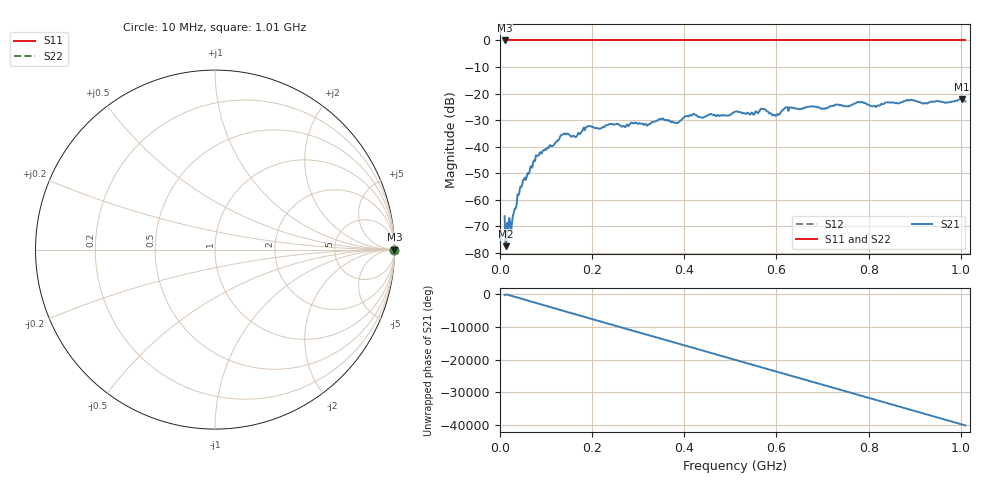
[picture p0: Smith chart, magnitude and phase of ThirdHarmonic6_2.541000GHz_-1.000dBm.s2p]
! 8/17/2025 5:08:02 AM
! C:\ANRITSUVNA\TEMP\TEMP.S2P
! CHANNEL.1
! TR.MEASUREMENT
! RAW.DATA
! RF.CORRECTION.OFF
! AVERAGING.OFF
! IF.BANDWIDTH: 5KHZ
! SWEEPTYPE:  FREQ.SWEEP(Linear)
! Reference Plane Port Info
! PORT:  PORT1  PORT2
! DISTANCE:  0  m  0  m
! TIME:  0  s  0  s
! PHASE.OFFSET:  0  deg.  0  deg.
! LOSS:  0  dB  0  dB
! REF.LOSS:  0  dB  0  dB
! REF.FREQ:  0  Hz  0  Hz
! Power Info
! POWER:  -20  dBm  -20  dBm
! EFF.POWER:  -20  dBm  -20  dBm
! SOURCE.ATTEN:  0  dB  0  dB
! TEST.ATTEN:  0  dB  0  dB
# GHZ S RI R 50.0
! FREQ.GHZ  S11RE  S11IM  S21RE  S21IM  S12RE  S12IM  S22RE  S22IM
!; PortSelection: Port_12
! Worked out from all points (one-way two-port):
!   501 points, 10 MHz to 1.01 GHz, reference 50 ohm
!   highest |S21| = -22.00 dB at 1.002 GHz (marker M1); lowest = -77.5 dB at 12 MHz (marker M2)
!   lowest |S11| = 0.0 dB at 10 MHz (marker M3)
!   |S11| at or under -10 dB: nowhere
!   |S22| runs from 0.0 to 0.0 dB; largest |S21 - S12| = 1.1
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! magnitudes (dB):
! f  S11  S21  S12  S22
! 10 MHz  0.0  -66.2  0.0  0.0
! 12 MHz  0.0  -77.5  0.0  0.0
! 16 MHz  0.0  -68.6  0.0  0.0
! 28 MHz  0.0  -66.0  0.0  0.0
! 48 MHz  0.0  -54.4  0.0  0.0
! 82 MHz  0.0  -43.4  0.0  0.0
! 136 MHz  0.0  -35.4  0.0  0.0
! 164 MHz  0.0  -36.4  0.0  0.0
! 178 MHz  0.0  -34.2  0.0  0.0
! 194 MHz  0.0  -32.2  0.0  0.0
! 344 MHz  0.0  -29.9  0.0  0.0
! 382 MHz  0.0  -31.0  0.0  0.0
! 416 MHz  0.0  -28.3  0.0  0.0
! 510 MHz  0.0  -26.9  0.0  0.0
! 548 MHz  0.0  -27.3  0.0  0.0
! 570 MHz  0.0  -25.8  0.0  0.0
! 596 MHz  0.0  -28.1  0.0  0.0
! 620 MHz  0.0  -25.2  0.0  0.0
! 678 MHz  0.0  -24.9  0.0  0.0
! 844 MHz  0.0  -23.3  0.0  0.0
! 1.002 GHz  0.0  -22.0  0.0  0.0
! 1.01 GHz  0.0  -22.9  0.0  0.0
